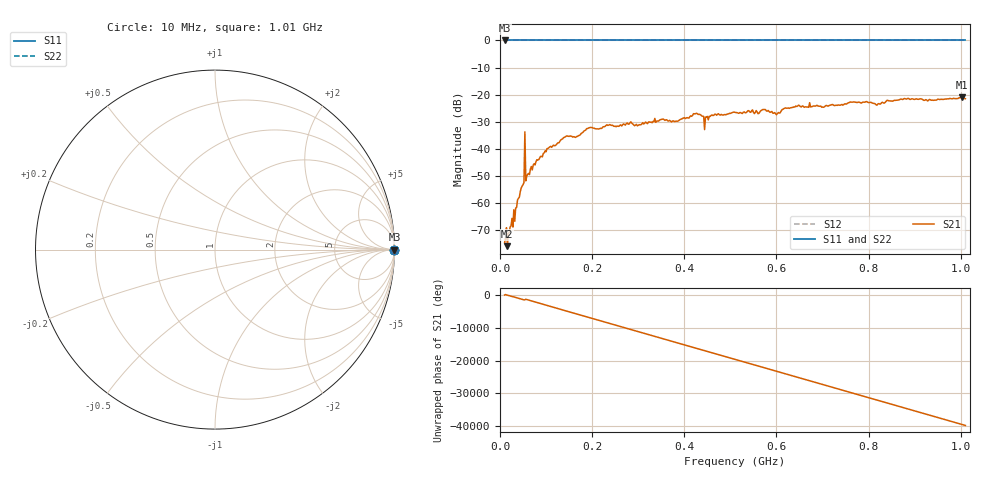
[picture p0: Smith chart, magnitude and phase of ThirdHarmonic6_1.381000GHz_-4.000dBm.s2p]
! 8/16/2025 3:41:21 PM
! C:\ANRITSUVNA\TEMP\TEMP.S2P
! CHANNEL.1
! TR.MEASUREMENT
! RAW.DATA
! RF.CORRECTION.OFF
! AVERAGING.OFF
! IF.BANDWIDTH: 5KHZ
! SWEEPTYPE:  FREQ.SWEEP(Linear)
! Reference Plane Port Info
! PORT:  PORT1  PORT2
! DISTANCE:  0  m  0  m
! TIME:  0  s  0  s
! PHASE.OFFSET:  0  deg.  0  deg.
! LOSS:  0  dB  0  dB
! REF.LOSS:  0  dB  0  dB
! REF.FREQ:  0  Hz  0  Hz
! Power Info
! POWER:  -20  dBm  -20  dBm
! EFF.POWER:  -20  dBm  -20  dBm
! SOURCE.ATTEN:  0  dB  0  dB
! TEST.ATTEN:  0  dB  0  dB
# GHZ S RI R 50.0
! FREQ.GHZ  S11RE  S11IM  S21RE  S21IM  S12RE  S12IM  S22RE  S22IM
!; PortSelection: Port_12
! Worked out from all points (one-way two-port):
!   501 points, 10 MHz to 1.01 GHz, reference 50 ohm
!   highest |S21| = -20.94 dB at 1.002 GHz (marker M1); lowest = -75.9 dB at 16 MHz (marker M2)
!   lowest |S11| = 0.0 dB at 10 MHz (marker M3)
!   |S11| at or under -10 dB: nowhere
!   |S22| runs from 0.0 to 0.0 dB; largest |S21 - S12| = 1.1
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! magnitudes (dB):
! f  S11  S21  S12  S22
! 10 MHz  0.0  -74.6  0.0  0.0
! 16 MHz  0.0  -75.9  0.0  0.0
! 32 MHz  0.0  -66.7  0.0  0.0
! 48 MHz  0.0  -53.8  0.0  0.0
! 50 MHz  0.0  -53.2  0.0  0.0
! 58 MHz  0.0  -50.2  0.0  0.0
! 60 MHz  0.0  -49.4  0.0  0.0
! 106 MHz  0.0  -39.6  0.0  0.0
! 142 MHz  0.0  -35.5  0.0  0.0
! 178 MHz  0.0  -34.1  0.0  0.0
! 196 MHz  0.0  -32.1  0.0  0.0
! 344 MHz  0.0  -29.8  0.0  0.0
! 384 MHz  0.0  -29.8  0.0  0.0
! 424 MHz  0.0  -27.1  0.0  0.0
! 448 MHz  0.0  -28.2  0.0  0.0
! 510 MHz  0.0  -26.5  0.0  0.0
! 602 MHz  0.0  -27.0  0.0  0.0
! 620 MHz  0.0  -24.9  0.0  0.0
! 678 MHz  0.0  -24.4  0.0  0.0
! 844 MHz  0.0  -22.3  0.0  0.0
! 1.002 GHz  0.0  -20.9  0.0  0.0
! 1.01 GHz  0.0  -21.5  0.0  0.0
